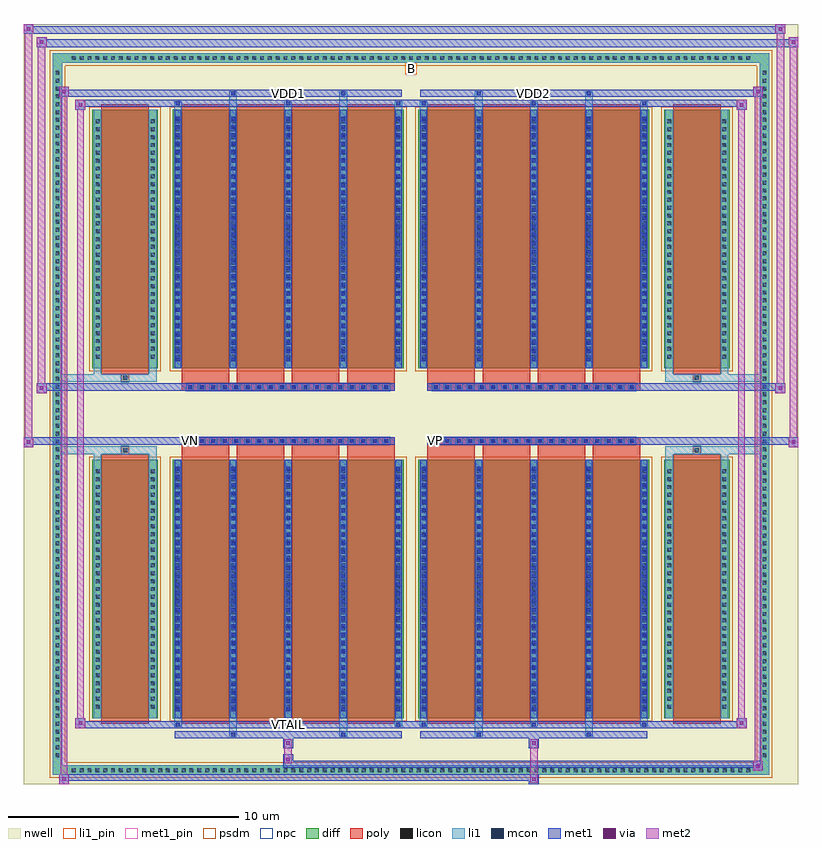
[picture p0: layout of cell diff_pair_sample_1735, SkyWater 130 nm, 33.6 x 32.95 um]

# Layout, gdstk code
import gdstk
lib = gdstk.Library(unit=1e-6, precision=5e-09)
def R(c, l, rs):  # rectangles x0, y0, x1, y1
    for r in rs: c.add(gdstk.rectangle(r[:2], r[2:], *l))
def A(c, l, x, y, w, h, nx, ny, dx, dy):  # array of equal rectangles
    R(c, l, [(x+i*dx, y+j*dy, x+i*dx+w, y+j*dy+h) for i in range(nx) for j in range(ny)])
def P(c, l, *ps):  # polygons
    for p in ps: c.add(gdstk.Polygon(p, *l))
nwell = (64, 20)
diff = (65, 20)
poly = (66, 20)
licon = (66, 44)
li1_pin = (67, 16)
li1 = (67, 20)
mcon = (67, 44)
met1_pin = (68, 16)
met1 = (68, 20)
via = (68, 44)
met2 = (69, 20)
psdm = (94, 20)
npc = (95, 20)

diff_pair_sample_1735 = lib.new_cell('diff_pair_sample_1735')
R(diff_pair_sample_1735, nwell, [(-16.8,-16.04,16.8,16.91), (-14.12,-14.23,-0.01,-0.805), (0.01,-14.23,14.12,-0.805), (-14.12,0.805,-0.01,14.23), (0.01,0.805,14.12,14.23)])
A(diff_pair_sample_1735, diff, -14.825, -15.64, 0.41, 0.41, 87, 2, 0.34, 30.87)
A(diff_pair_sample_1735, diff, -15.53, -14.995, 0.41, 0.41, 1, 88, 0, 0.34)
A(diff_pair_sample_1735, diff, 15.12, -14.995, 0.41, 0.41, 1, 88, 0, 0.34)
R(diff_pair_sample_1735, diff, [(-14.825,-15.64,14.825,-15.23), (-15.53,-14.995,-15.12,14.995), (15.12,-14.995,15.53,14.995), (-13.81,-13.185,-10.97,-1.985), (-10.33,-13.185,-0.32,-1.985), (0.32,-13.185,10.33,-1.985), (10.97,-13.185,13.81,-1.985), (-13.81,1.985,-10.97,13.185), (-10.33,1.985,-0.32,13.185), (0.32,1.985,10.33,13.185), (10.97,1.985,13.81,13.185), (-14.825,15.23,14.825,15.64)])
P(diff_pair_sample_1735, diff, [(15.53,15.64),(-15.53,15.64),(-15.53,-15.23),(-15.12,-15.23),(-15.12,15.23),(15.12,15.23),(15.12,-15.23),(-15.12,-15.23),(-15.53,-15.23),(-15.53,-15.64),(15.53,-15.64)])
A(diff_pair_sample_1735, poly, -9.94, -13.435, 2.06, 11.7, 4, 2, 2.39, 15.17)
A(diff_pair_sample_1735, poly, 0.71, -13.435, 2.06, 11.7, 4, 2, 2.39, 15.17)
A(diff_pair_sample_1735, poly, -9.94, -1.735, 2.06, 0.4, 4, 2, 2.39, 3.07)
A(diff_pair_sample_1735, poly, 0.71, -1.735, 2.06, 0.4, 4, 2, 2.39, 3.07)
A(diff_pair_sample_1735, poly, -9.74, -1.335, 0.33, 0.33, 18, 2, 0.5, 2.34)
A(diff_pair_sample_1735, poly, 0.91, -1.335, 0.33, 0.33, 18, 2, 0.5, 2.34)
R(diff_pair_sample_1735, poly, [(-13.42,-13.435,-11.36,-1.735), (11.36,-13.435,13.42,-1.735), (-12.555,-1.735,-12.225,-1.405), (-12.555,-1.735,-12.225,-1.405), (12.225,-1.735,12.555,-1.405), (12.225,-1.735,12.555,-1.405), (-9.94,-1.335,-0.71,-1.005), (0.71,-1.335,9.94,-1.005), (-9.94,1.005,-0.71,1.335), (0.71,1.005,9.94,1.335), (-12.555,1.405,-12.225,1.735), (-12.555,1.405,-12.225,1.735), (12.225,1.405,12.555,1.735), (12.225,1.405,12.555,1.735), (-13.42,1.735,-11.36,13.435), (11.36,1.735,13.42,13.435)])
A(diff_pair_sample_1735, licon, -14.705, -15.52, 0.17, 0.17, 87, 2, 0.34, 30.87)
A(diff_pair_sample_1735, licon, -15.41, -14.875, 0.17, 0.17, 1, 88, 0, 0.34)
A(diff_pair_sample_1735, licon, 15.24, -14.875, 0.17, 0.17, 1, 88, 0, 0.34)
A(diff_pair_sample_1735, licon, -13.67, -12.77, 0.17, 0.17, 1, 31, 0, 0.34)
A(diff_pair_sample_1735, licon, -11.28, -12.77, 0.17, 0.17, 1, 31, 0, 0.34)
A(diff_pair_sample_1735, licon, -10.19, -12.77, 0.17, 0.17, 5, 31, 2.39, 0.34)
A(diff_pair_sample_1735, licon, 0.46, -12.77, 0.17, 0.17, 5, 31, 2.39, 0.34)
A(diff_pair_sample_1735, licon, 11.11, -12.77, 0.17, 0.17, 1, 31, 0, 0.34)
A(diff_pair_sample_1735, licon, 13.5, -12.77, 0.17, 0.17, 1, 31, 0, 0.34)
A(diff_pair_sample_1735, licon, -9.66, -1.255, 0.17, 0.17, 18, 2, 0.5, 2.34)
A(diff_pair_sample_1735, licon, 0.99, -1.255, 0.17, 0.17, 18, 2, 0.5, 2.34)
A(diff_pair_sample_1735, licon, -13.67, 2.4, 0.17, 0.17, 1, 31, 0, 0.34)
A(diff_pair_sample_1735, licon, -11.28, 2.4, 0.17, 0.17, 1, 31, 0, 0.34)
A(diff_pair_sample_1735, licon, -10.19, 2.4, 0.17, 0.17, 5, 31, 2.39, 0.34)
A(diff_pair_sample_1735, licon, 0.46, 2.4, 0.17, 0.17, 5, 31, 2.39, 0.34)
A(diff_pair_sample_1735, licon, 11.11, 2.4, 0.17, 0.17, 1, 31, 0, 0.34)
A(diff_pair_sample_1735, licon, 13.5, 2.4, 0.17, 0.17, 1, 31, 0, 0.34)
R(diff_pair_sample_1735, licon, [(-12.475,-1.655,-12.305,-1.485), (12.305,-1.655,12.475,-1.485), (-12.475,1.485,-12.305,1.655), (12.305,1.485,12.475,1.655)])
R(diff_pair_sample_1735, li1_pin, [(-0.25,14.73,0.25,15.23)])
A(diff_pair_sample_1735, li1, -14.785, -15.6, 0.33, 0.33, 87, 2, 0.34, 30.87)
A(diff_pair_sample_1735, li1, -15.49, -14.955, 0.33, 0.33, 1, 88, 0, 0.34)
A(diff_pair_sample_1735, li1, 15.16, -14.955, 0.33, 0.33, 1, 88, 0, 0.34)
A(diff_pair_sample_1735, li1, -10.27, -13.56, 0.33, 0.375, 3, 2, 4.78, 26.745)
A(diff_pair_sample_1735, li1, -10.19, -13.56, 0.17, 0.17, 3, 2, 4.78, 26.95)
A(diff_pair_sample_1735, li1, 0.38, -13.56, 0.33, 0.375, 3, 2, 4.78, 26.745)
A(diff_pair_sample_1735, li1, 0.46, -13.56, 0.17, 0.17, 3, 2, 4.78, 26.95)
A(diff_pair_sample_1735, li1, -10.27, -13.185, 0.33, 11.2, 5, 2, 2.39, 15.17)
A(diff_pair_sample_1735, li1, 0.38, -13.185, 0.33, 11.2, 5, 2, 2.39, 15.17)
A(diff_pair_sample_1735, li1, -10.19, -12.89, 0.17, 0.17, 5, 30, 2.39, 0.36)
A(diff_pair_sample_1735, li1, -10.19, -12.89, 0.17, 10.61, 5, 2, 2.39, 15.17)
A(diff_pair_sample_1735, li1, 0.46, -12.89, 0.17, 0.17, 5, 30, 2.39, 0.36)
A(diff_pair_sample_1735, li1, 0.46, -12.89, 0.17, 10.61, 5, 2, 2.39, 15.17)
A(diff_pair_sample_1735, li1, -13.75, -12.85, 0.33, 0.33, 1, 31, 0, 0.34)
A(diff_pair_sample_1735, li1, -11.36, -12.85, 0.33, 0.33, 1, 31, 0, 0.34)
A(diff_pair_sample_1735, li1, -10.27, -12.85, 0.33, 0.33, 5, 31, 2.39, 0.34)
A(diff_pair_sample_1735, li1, 0.38, -12.85, 0.33, 0.33, 5, 31, 2.39, 0.34)
A(diff_pair_sample_1735, li1, 11.03, -12.85, 0.33, 0.33, 1, 31, 0, 0.34)
A(diff_pair_sample_1735, li1, 13.42, -12.85, 0.33, 0.33, 1, 31, 0, 0.34)
A(diff_pair_sample_1735, li1, -9.74, -1.335, 0.33, 0.33, 18, 2, 0.5, 2.34)
A(diff_pair_sample_1735, li1, 0.91, -1.335, 0.33, 0.33, 18, 2, 0.5, 2.34)
A(diff_pair_sample_1735, li1, -10.19, 2.28, 0.17, 0.17, 5, 30, 2.39, 0.36)
A(diff_pair_sample_1735, li1, 0.46, 2.28, 0.17, 0.17, 5, 30, 2.39, 0.36)
A(diff_pair_sample_1735, li1, -13.75, 2.32, 0.33, 0.33, 1, 31, 0, 0.34)
A(diff_pair_sample_1735, li1, -11.36, 2.32, 0.33, 0.33, 1, 31, 0, 0.34)
A(diff_pair_sample_1735, li1, -10.27, 2.32, 0.33, 0.33, 5, 31, 2.39, 0.34)
A(diff_pair_sample_1735, li1, 0.38, 2.32, 0.33, 0.33, 5, 31, 2.39, 0.34)
A(diff_pair_sample_1735, li1, 11.03, 2.32, 0.33, 0.33, 1, 31, 0, 0.34)
A(diff_pair_sample_1735, li1, 13.42, 2.32, 0.33, 0.33, 1, 31, 0, 0.34)
R(diff_pair_sample_1735, li1, [(-15.53,-15.64,-15.12,-15.23), (-15.53,-15.64,-15.12,-15.23), (-15.12,-15.64,15.12,-15.23), (15.12,-15.64,15.53,-15.23), (15.12,-15.64,15.53,-15.23), (-15.53,-15.23,-15.12,15.23), (15.12,-15.23,15.53,15.23), (-7.88,-13.99,-7.55,-13.185), (-7.8,-13.99,-7.63,-13.82), (-3.1,-13.99,-2.77,-13.185), (-3.02,-13.99,-2.85,-13.82), (2.77,-13.99,3.1,-13.185), (2.85,-13.99,3.02,-13.82), (7.55,-13.99,7.88,-13.185), (7.63,-13.99,7.8,-13.82), (-13.75,-13.185,-13.42,-1.985), (-11.36,-13.185,-11.03,-1.985), (11.03,-13.185,11.36,-1.985), (13.42,-13.185,13.75,-1.985), (-13.75,-1.985,-13.42,-1.405), (-11.36,-1.985,-11.03,-1.405), (11.03,-1.985,11.36,-1.405), (13.42,-1.985,13.75,-1.405), (-15.53,-1.735,-12.555,-1.405), (-13.75,-1.735,-12.555,-1.405), (-12.555,-1.735,-12.225,-1.405), (-12.225,-1.735,-11.03,-1.405), (11.03,-1.735,12.225,-1.405), (12.225,-1.735,12.555,-1.405), (12.225,-1.735,15.53,-1.405), (12.555,-1.735,13.75,-1.405), (-15.53,1.405,-12.555,1.735), (-13.75,1.405,-12.555,1.735), (-13.75,1.405,-13.42,1.985), (-12.555,1.405,-12.225,1.735), (-12.225,1.405,-11.03,1.735), (-11.36,1.405,-11.03,1.985), (11.03,1.405,12.225,1.735), (11.03,1.405,11.36,1.985), (12.225,1.405,12.555,1.735), (12.225,1.405,15.53,1.735), (12.555,1.405,13.75,1.735), (13.42,1.405,13.75,1.985), (-13.75,1.985,-13.42,13.185), (-11.36,1.985,-11.03,13.185), (11.03,1.985,11.36,13.185), (13.42,1.985,13.75,13.185), (-7.88,13.185,-7.55,13.99), (-3.1,13.185,-2.77,13.99), (2.77,13.185,3.1,13.99), (7.55,13.185,7.88,13.99), (-7.8,13.82,-7.63,13.99), (-3.02,13.82,-2.85,13.99), (2.85,13.82,3.02,13.99), (7.63,13.82,7.8,13.99), (-15.53,15.23,-15.12,15.64), (-15.53,15.23,-15.12,15.64), (-15.12,15.23,15.12,15.64), (15.12,15.23,15.53,15.64), (15.12,15.23,15.53,15.64)])
A(diff_pair_sample_1735, mcon, -10.19, -13.56, 0.17, 0.17, 3, 2, 4.78, 26.95)
A(diff_pair_sample_1735, mcon, 0.46, -13.56, 0.17, 0.17, 3, 2, 4.78, 26.95)
A(diff_pair_sample_1735, mcon, -10.19, -12.89, 0.17, 0.17, 5, 30, 2.39, 0.36)
A(diff_pair_sample_1735, mcon, 0.46, -12.89, 0.17, 0.17, 5, 30, 2.39, 0.36)
A(diff_pair_sample_1735, mcon, -9.66, -1.255, 0.17, 0.17, 18, 2, 0.5, 2.34)
A(diff_pair_sample_1735, mcon, 0.99, -1.255, 0.17, 0.17, 18, 2, 0.5, 2.34)
A(diff_pair_sample_1735, mcon, -10.19, 2.28, 0.17, 0.17, 5, 30, 2.39, 0.36)
A(diff_pair_sample_1735, mcon, 0.46, 2.28, 0.17, 0.17, 5, 30, 2.39, 0.36)
R(diff_pair_sample_1735, mcon, [(-7.8,-13.99,-7.63,-13.82), (-3.02,-13.99,-2.85,-13.82), (2.85,-13.99,3.02,-13.82), (7.63,-13.99,7.8,-13.82), (-7.8,13.82,-7.63,13.99), (-3.02,13.82,-2.85,13.99), (2.85,13.82,3.02,13.99), (7.63,13.82,7.8,13.99)])
R(diff_pair_sample_1735, met1_pin, [(-5.46,-13.6,-5.19,-13.33), (-9.71,-1.295,-9.44,-1.025), (0.94,-1.295,1.21,-1.025), (-5.46,13.78,-5.19,14.05), (5.19,13.78,5.46,14.05)])
A(diff_pair_sample_1735, met1, -10.25, -13.62, 0.29, 0.29, 3, 2, 4.78, 26.95)
A(diff_pair_sample_1735, met1, 0.4, -13.62, 0.29, 0.29, 3, 2, 4.78, 26.95)
A(diff_pair_sample_1735, met1, -10.25, -13.185, 0.29, 11.2, 5, 2, 2.39, 15.17)
A(diff_pair_sample_1735, met1, 0.4, -13.185, 0.29, 11.2, 5, 2, 2.39, 15.17)
A(diff_pair_sample_1735, met1, -10.25, -12.95, 0.29, 0.29, 5, 30, 2.39, 0.36)
A(diff_pair_sample_1735, met1, 0.4, -12.95, 0.29, 0.29, 5, 30, 2.39, 0.36)
A(diff_pair_sample_1735, met1, -9.72, -1.315, 0.29, 0.29, 18, 2, 0.5, 2.34)
A(diff_pair_sample_1735, met1, 0.93, -1.315, 0.29, 0.29, 18, 2, 0.5, 2.34)
A(diff_pair_sample_1735, met1, -10.25, 2.22, 0.29, 0.29, 5, 30, 2.39, 0.36)
A(diff_pair_sample_1735, met1, 0.4, 2.22, 0.29, 0.29, 5, 30, 2.39, 0.36)
R(diff_pair_sample_1735, met1, [(-15.26,-16.04,-14.83,-15.61), (5.11,-16.04,5.54,-15.61), (-15.26,-15.9,5.54,-15.61), (14.83,-15.47,15.26,-15.04), (-5.54,-15.33,15.26,-15.04), (-5.54,-15.19,-5.11,-14.76), (-5.54,-14.48,-5.11,-14.05), (5.11,-14.48,5.54,-14.05), (-10.25,-14.05,-0.4,-13.76), (-7.86,-14.05,-7.57,-13.76), (-3.08,-14.05,-2.79,-13.76), (0.4,-14.05,10.25,-13.76), (2.79,-14.05,3.08,-13.76), (7.57,-14.05,7.86,-13.76), (-14.55,-13.62,-14.12,-13.19), (-14.55,-13.62,-10.25,-13.33), (-10.25,-13.62,-0.4,-13.33), (-0.4,-13.62,0.4,-13.33), (0.4,-13.62,10.25,-13.33), (10.25,-13.62,14.55,-13.33), (14.12,-13.62,14.55,-13.19), (-16.8,-1.435,-16.37,-1.005), (16.37,-1.435,16.8,-1.005), (-16.8,-1.335,-0.71,-1.005), (-9.94,-1.335,-0.71,-1.005), (0.71,-1.335,9.94,-1.005), (0.71,-1.335,16.8,-1.005), (-16.23,0.905,-15.8,1.335), (15.8,0.905,16.23,1.335), (-16.23,1.005,-9.94,1.335), (-9.94,1.005,-0.71,1.335), (0.71,1.005,9.94,1.335), (9.94,1.005,16.23,1.335), (-14.55,13.19,-14.12,13.62), (14.12,13.19,14.55,13.62), (-14.55,13.33,-10.25,13.62), (-10.25,13.33,-0.4,13.62), (-0.4,13.33,0.4,13.62), (0.4,13.33,10.25,13.62), (10.25,13.33,14.55,13.62), (-15.26,13.76,-14.83,14.19), (-15.26,13.76,-10.25,14.05), (-10.25,13.76,-0.4,14.05), (-7.86,13.76,-7.57,14.05), (-3.08,13.76,-2.79,14.05), (0.4,13.76,10.25,14.05), (2.79,13.76,3.08,14.05), (7.57,13.76,7.86,14.05), (10.25,13.76,15.26,14.05), (14.83,13.76,15.26,14.19), (-16.23,15.91,-15.8,16.34), (-16.23,15.91,-14.12,16.24), (-14.12,15.91,14.12,16.24), (14.12,15.91,16.8,16.24), (16.37,15.91,16.8,16.34), (-16.8,16.48,-16.37,16.91), (-16.8,16.48,-14.12,16.81), (-14.12,16.48,14.12,16.81), (14.12,16.48,16.23,16.81), (15.8,16.48,16.23,16.91)])
R(diff_pair_sample_1735, via, [(-15.12,-15.9,-14.97,-15.75), (5.25,-15.9,5.4,-15.75), (14.97,-15.33,15.12,-15.18), (-5.4,-15.05,-5.25,-14.9), (-5.4,-14.34,-5.25,-14.19), (5.25,-14.34,5.4,-14.19), (-14.41,-13.48,-14.26,-13.33), (14.26,-13.48,14.41,-13.33), (-16.66,-1.295,-16.51,-1.145), (16.51,-1.295,16.66,-1.145), (-16.09,1.045,-15.94,1.195), (15.94,1.045,16.09,1.195), (-14.41,13.33,-14.26,13.48), (14.26,13.33,14.41,13.48), (-15.12,13.9,-14.97,14.05), (14.97,13.9,15.12,14.05), (-16.09,16.05,-15.94,16.2), (16.51,16.05,16.66,16.2), (-16.66,16.62,-16.51,16.77), (15.94,16.62,16.09,16.77)])
R(diff_pair_sample_1735, met2, [(-15.26,-16.04,-14.83,-15.61), (-15.19,-16.04,-14.9,14.19), (-14.9,-16.04,-14.83,-15.61), (-15.21,-15.99,-14.88,-15.66), (5.16,-15.99,5.49,-15.66), (5.16,-15.66,5.49,-14.43), (14.83,-15.47,15.26,-15.04), (14.9,-15.47,15.19,14.19), (15.19,-15.47,15.26,-15.04), (14.88,-15.42,15.21,-15.09), (-5.49,-15.14,-5.16,-14.81), (-5.49,-14.81,-5.16,-14.43), (-5.49,-14.43,-5.16,-14.1), (5.16,-14.43,5.49,-14.1), (-14.55,-13.62,-14.12,-13.19), (-14.48,-13.62,-14.19,13.62), (-14.19,-13.62,-14.12,-13.19), (14.12,-13.62,14.55,-13.19), (14.19,-13.62,14.48,13.62), (14.48,-13.62,14.55,-13.19), (-14.5,-13.57,-14.17,-13.24), (14.17,-13.57,14.5,-13.24), (-16.8,-1.435,-16.37,-1.005), (-16.75,-1.435,-16.42,16.91), (-16.42,-1.435,-16.37,-1.005), (16.37,-1.435,16.8,-1.005), (16.42,-1.435,16.75,16.34), (16.75,-1.435,16.8,-1.005), (-16.75,-1.385,-16.42,-1.055), (16.42,-1.385,16.75,-1.055), (-16.23,0.905,-15.8,1.335), (-16.18,0.905,-15.85,16.34), (-15.85,0.905,-15.8,1.335), (15.8,0.905,16.23,1.335), (15.85,0.905,16.18,16.91), (16.18,0.905,16.23,1.335), (-16.18,0.955,-15.85,1.285), (15.85,0.955,16.18,1.285), (-14.55,13.19,-14.12,13.62), (-14.19,13.19,-14.12,13.62), (14.12,13.19,14.55,13.62), (14.48,13.19,14.55,13.62), (-14.5,13.24,-14.17,13.57), (14.17,13.24,14.5,13.57), (-15.26,13.76,-14.83,14.19), (-14.9,13.76,-14.83,14.19), (14.83,13.76,15.26,14.19), (15.19,13.76,15.26,14.19), (-15.21,13.81,-14.88,14.14), (14.88,13.81,15.21,14.14), (-16.23,15.91,-15.8,16.34), (-15.85,15.91,-15.8,16.34), (16.37,15.91,16.8,16.34), (16.75,15.91,16.8,16.34), (-16.18,15.96,-15.85,16.29), (16.42,15.96,16.75,16.29), (-16.8,16.48,-16.37,16.91), (-16.42,16.48,-16.37,16.91), (15.8,16.48,16.23,16.91), (16.18,16.48,16.23,16.91), (-16.75,16.53,-16.42,16.86), (15.85,16.53,16.18,16.86)])
R(diff_pair_sample_1735, psdm, [(-13.94,-13.315,-10.84,-1.855), (-10.46,-13.315,-0.19,-1.855), (0.19,-13.315,10.46,-1.855), (10.84,-13.315,13.94,-1.855), (-13.94,1.855,-10.84,13.315), (-10.46,1.855,-0.19,13.315), (0.19,1.855,10.46,13.315), (10.84,1.855,13.94,13.315)])
P(diff_pair_sample_1735, psdm, [(15.66,15.77),(-15.66,15.77),(-15.66,-15.1),(-14.99,-15.1),(-14.99,15.1),(14.99,15.1),(14.99,-15.1),(-14.99,-15.1),(-15.66,-15.1),(-15.66,-15.77),(15.66,-15.77)])
A(diff_pair_sample_1735, npc, -9.76, -1.355, 0.37, 0.37, 18, 2, 0.5, 2.34)
A(diff_pair_sample_1735, npc, 0.89, -1.355, 0.37, 0.37, 18, 2, 0.5, 2.34)
R(diff_pair_sample_1735, npc, [(-12.575,-1.755,-12.205,-1.385), (12.205,-1.755,12.575,-1.385), (-9.76,-1.355,-8.89,-0.985), (-9.76,-1.355,-8.89,-0.985), (-9.26,-1.355,-8.39,-0.985), (-9.26,-1.355,-8.39,-0.985), (-8.76,-1.355,-7.89,-0.985), (-8.76,-1.355,-7.89,-0.985), (-8.26,-1.355,-7.39,-0.985), (-8.26,-1.355,-7.39,-0.985), (-7.76,-1.355,-6.89,-0.985), (-7.76,-1.355,-6.89,-0.985), (-7.26,-1.355,-6.39,-0.985), (-7.26,-1.355,-6.39,-0.985), (-6.76,-1.355,-5.89,-0.985), (-6.76,-1.355,-5.89,-0.985), (-6.26,-1.355,-5.39,-0.985), (-6.26,-1.355,-5.39,-0.985), (-5.76,-1.355,-4.89,-0.985), (-5.76,-1.355,-4.89,-0.985), (-5.26,-1.355,-4.39,-0.985), (-5.26,-1.355,-4.39,-0.985), (-4.76,-1.355,-3.89,-0.985), (-4.76,-1.355,-3.89,-0.985), (-4.26,-1.355,-3.39,-0.985), (-4.26,-1.355,-3.39,-0.985), (-3.76,-1.355,-2.89,-0.985), (-3.76,-1.355,-2.89,-0.985), (-3.26,-1.355,-2.39,-0.985), (-3.26,-1.355,-2.39,-0.985), (-2.76,-1.355,-1.89,-0.985), (-2.76,-1.355,-1.89,-0.985), (-2.26,-1.355,-1.39,-0.985), (-2.26,-1.355,-1.39,-0.985), (-1.76,-1.355,-0.89,-0.985), (-1.76,-1.355,-0.89,-0.985), (0.89,-1.355,1.76,-0.985), (0.89,-1.355,1.76,-0.985), (1.39,-1.355,2.26,-0.985), (1.39,-1.355,2.26,-0.985), (1.89,-1.355,2.76,-0.985), (1.89,-1.355,2.76,-0.985), (2.39,-1.355,3.26,-0.985), (2.39,-1.355,3.26,-0.985), (2.89,-1.355,3.76,-0.985), (2.89,-1.355,3.76,-0.985), (3.39,-1.355,4.26,-0.985), (3.39,-1.355,4.26,-0.985), (3.89,-1.355,4.76,-0.985), (3.89,-1.355,4.76,-0.985), (4.39,-1.355,5.26,-0.985), (4.39,-1.355,5.26,-0.985), (4.89,-1.355,5.76,-0.985), (4.89,-1.355,5.76,-0.985), (5.39,-1.355,6.26,-0.985), (5.39,-1.355,6.26,-0.985), (5.89,-1.355,6.76,-0.985), (5.89,-1.355,6.76,-0.985), (6.39,-1.355,7.26,-0.985), (6.39,-1.355,7.26,-0.985), (6.89,-1.355,7.76,-0.985), (6.89,-1.355,7.76,-0.985), (7.39,-1.355,8.26,-0.985), (7.39,-1.355,8.26,-0.985), (7.89,-1.355,8.76,-0.985), (7.89,-1.355,8.76,-0.985), (8.39,-1.355,9.26,-0.985), (8.39,-1.355,9.26,-0.985), (8.89,-1.355,9.76,-0.985), (8.89,-1.355,9.76,-0.985), (-9.76,0.985,-8.89,1.355), (-9.76,0.985,-8.89,1.355), (-9.26,0.985,-8.39,1.355), (-9.26,0.985,-8.39,1.355), (-8.76,0.985,-7.89,1.355), (-8.76,0.985,-7.89,1.355), (-8.26,0.985,-7.39,1.355), (-8.26,0.985,-7.39,1.355), (-7.76,0.985,-6.89,1.355), (-7.76,0.985,-6.89,1.355), (-7.26,0.985,-6.39,1.355), (-7.26,0.985,-6.39,1.355), (-6.76,0.985,-5.89,1.355), (-6.76,0.985,-5.89,1.355), (-6.26,0.985,-5.39,1.355), (-6.26,0.985,-5.39,1.355), (-5.76,0.985,-4.89,1.355), (-5.76,0.985,-4.89,1.355), (-5.26,0.985,-4.39,1.355), (-5.26,0.985,-4.39,1.355), (-4.76,0.985,-3.89,1.355), (-4.76,0.985,-3.89,1.355), (-4.26,0.985,-3.39,1.355), (-4.26,0.985,-3.39,1.355), (-3.76,0.985,-2.89,1.355), (-3.76,0.985,-2.89,1.355), (-3.26,0.985,-2.39,1.355), (-3.26,0.985,-2.39,1.355), (-2.76,0.985,-1.89,1.355), (-2.76,0.985,-1.89,1.355), (-2.26,0.985,-1.39,1.355), (-2.26,0.985,-1.39,1.355), (-1.76,0.985,-0.89,1.355), (-1.76,0.985,-0.89,1.355), (0.89,0.985,1.76,1.355), (0.89,0.985,1.76,1.355), (1.39,0.985,2.26,1.355), (1.39,0.985,2.26,1.355), (1.89,0.985,2.76,1.355), (1.89,0.985,2.76,1.355), (2.39,0.985,3.26,1.355), (2.39,0.985,3.26,1.355), (2.89,0.985,3.76,1.355), (2.89,0.985,3.76,1.355), (3.39,0.985,4.26,1.355), (3.39,0.985,4.26,1.355), (3.89,0.985,4.76,1.355), (3.89,0.985,4.76,1.355), (4.39,0.985,5.26,1.355), (4.39,0.985,5.26,1.355), (4.89,0.985,5.76,1.355), (4.89,0.985,5.76,1.355), (5.39,0.985,6.26,1.355), (5.39,0.985,6.26,1.355), (5.89,0.985,6.76,1.355), (5.89,0.985,6.76,1.355), (6.39,0.985,7.26,1.355), (6.39,0.985,7.26,1.355), (6.89,0.985,7.76,1.355), (6.89,0.985,7.76,1.355), (7.39,0.985,8.26,1.355), (7.39,0.985,8.26,1.355), (7.89,0.985,8.76,1.355), (7.89,0.985,8.76,1.355), (8.39,0.985,9.26,1.355), (8.39,0.985,9.26,1.355), (8.89,0.985,9.76,1.355), (8.89,0.985,9.76,1.355), (-12.575,1.385,-12.205,1.755), (12.205,1.385,12.575,1.755)])
diff_pair_sample_1735.add(gdstk.Label('VTAIL', (-5.325,-13.465), layer=68, texttype=5))
diff_pair_sample_1735.add(gdstk.Label('VN', (-9.575,-1.16), layer=68, texttype=5))
diff_pair_sample_1735.add(gdstk.Label('VP', (1.075,-1.16), layer=68, texttype=5))
diff_pair_sample_1735.add(gdstk.Label('B', (0,14.98), layer=67, texttype=5))
diff_pair_sample_1735.add(gdstk.Label('VDD2', (5.325,13.915), layer=68, texttype=5))
diff_pair_sample_1735.add(gdstk.Label('VDD1', (-5.325,13.915), layer=68, texttype=5))

lib.write_gds('diff_pair_sample_1735.gds')
